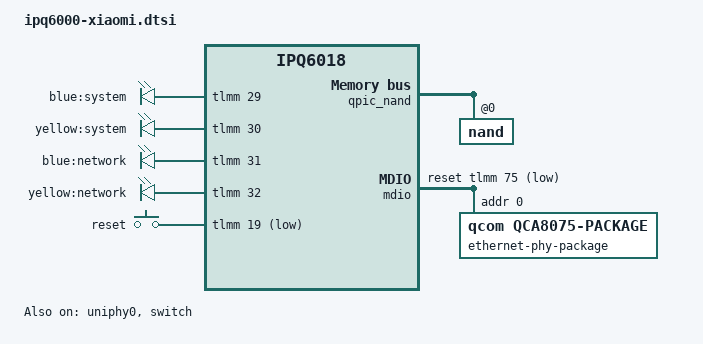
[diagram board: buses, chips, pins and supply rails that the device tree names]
// SPDX-License-Identifier: GPL-2.0-or-later OR MIT

#include "ipq6018.dtsi"
#include "ipq6018-ess.dtsi"
#include "ipq6018-nss.dtsi"
#include "ipq6018-common.dtsi"
#include "ipq6018-cp-cpu.dtsi"

#include <dt-bindings/gpio/gpio.h>
#include <dt-bindings/input/input.h>
#include <dt-bindings/leds/common.h>

/ {
	aliases {
		ethernet1 = &swport2;
		ethernet2 = &swport3;
		ethernet3 = &swport4;
		ethernet4 = &swport5;

		serial0 = &blsp1_uart3;

		led-boot = &led_system_yellow;
		led-failsafe = &led_system_blue;
		led-running = &led_system_blue;
		led-upgrade = &led_system_yellow;
	};

	chosen {
		stdout-path = "serial0:115200n8";
		bootargs-append = " root=/dev/ubiblock0_1";
	};

	leds {
		compatible = "gpio-leds";

		led_system_blue: system-blue {
			label = "blue:system";
			gpios = <&tlmm 29 GPIO_ACTIVE_HIGH>;
		};

		led_system_yellow: system-yellow {
			label = "yellow:system";
			gpios = <&tlmm 30 GPIO_ACTIVE_HIGH>;
		};

		led_network_blue: network-blue {
			label = "blue:network";
			gpios = <&tlmm 31 GPIO_ACTIVE_HIGH>;
		};

		led_network_yellow: network-yellow {
			label = "yellow:network";
			gpios = <&tlmm 32 GPIO_ACTIVE_HIGH>;
		};
	};

	keys {
		compatible = "gpio-keys";

		reset {
			label = "reset";
			linux,code = <KEY_RESTART>;
			gpios = <&tlmm 19 GPIO_ACTIVE_LOW>;
			linux,input-type = <1>;
			debounce-interval = <60>;
		};
	};
};

&qpic_nand {
	status = "okay";

	nand@0 {
		reg = <0>;

		nand-ecc-strength = <4>;
		nand-ecc-step-size = <512>;
		nand-bus-width = <8>;

		partitions {
			compatible = "qcom,smem-part";
		};
	};
};

&mdio {
	status = "okay";

	pinctrl-0 = <&mdio_pins>;
	pinctrl-names = "default";
	reset-gpios = <&tlmm 75 GPIO_ACTIVE_LOW>;

	ethernet-phy-package@0 {
		compatible = "qcom,qca8075-package";
		qcom,package-mode = "psgmii";
		#address-cells = <1>;
		#size-cells = <0>;
		reg = <0>;

		qca8075_1: ethernet-phy@1 {
			compatible = "ethernet-phy-ieee802.3-c22";
			reg = <1>;
		};

		qca8075_2: ethernet-phy@2 {
			compatible = "ethernet-phy-ieee802.3-c22";
			reg = <2>;
		};

		qca8075_3: ethernet-phy@3 {
			compatible = "ethernet-phy-ieee802.3-c22";
			reg = <3>;
		};

		qca8075_4: ethernet-phy@4 {
			compatible = "ethernet-phy-ieee802.3-c22";
			reg = <4>;
		};
	};
};

&uniphy0 {
	status = "okay";
};

&switch {
	status = "okay";

	ports {
		#address-cells = <1>;
		#size-cells = <0>;

		port@0 {
			reg = <0>;
			ethernet = <&edma>;
			phy-mode = "internal";

			fixed-link {
				speed = <1000>;
				full-duplex;
			};
		};

		swport2: port@2 {
			reg = <2>;
			label = "lan1";
			phy-handle = <&qca8075_1>;
			phy-mode = "psgmii";
			pcs-handle = <&uniphy0 1>;
		};

		swport3: port@3 {
			reg = <3>;
			label = "lan2";
			phy-handle = <&qca8075_2>;
			phy-mode = "psgmii";
			pcs-handle = <&uniphy0 2>;
		};

		swport4: port@4 {
			reg = <4>;
			label = "lan3";
			phy-handle = <&qca8075_3>;
			phy-mode = "psgmii";
			pcs-handle = <&uniphy0 3>;
		};

		swport5: port@5 {
			reg = <5>;
			label = "wan";
			phy-handle = <&qca8075_4>;
			phy-mode = "psgmii";
			pcs-handle = <&uniphy0 4>;
		};
	};
};

&edma {
	status = "okay";
};
